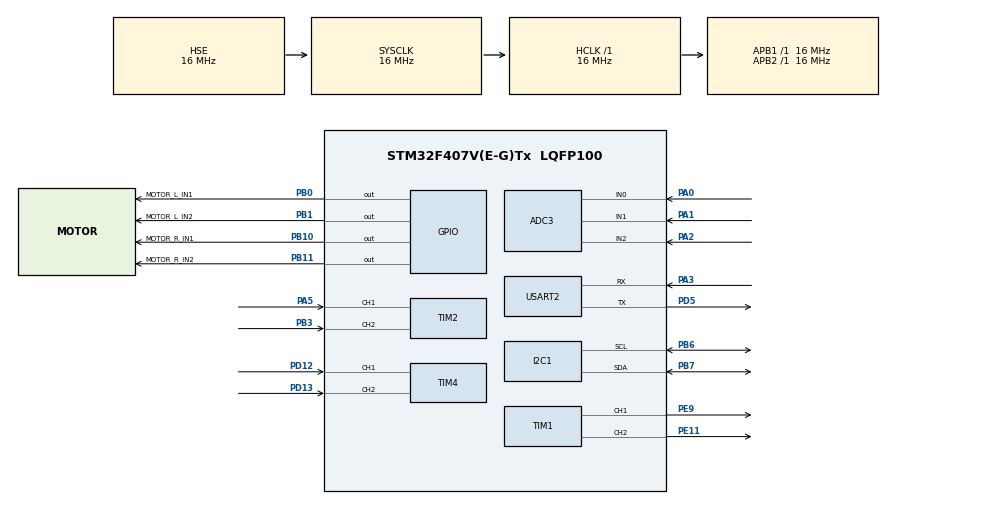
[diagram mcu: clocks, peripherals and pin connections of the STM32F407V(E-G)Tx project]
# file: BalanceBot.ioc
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ADC3.Channel-0\#ChannelRegularConversion=ADC_CHANNEL_0
ADC3.NbrOfConversionFlag=1
ADC3.Rank-0\#ChannelRegularConversion=1
ADC3.SamplingTime-0\#ChannelRegularConversion=ADC_SAMPLETIME_3CYCLES
Dma.ADC3.0.Direction=DMA_PERIPH_TO_MEMORY
Dma.ADC3.0.FIFOMode=DMA_FIFOMODE_DISABLE
Dma.ADC3.0.Instance=DMA2_Stream1
Dma.ADC3.0.MemDataAlignment=DMA_MDATAALIGN_HALFWORD
Dma.ADC3.0.MemInc=DMA_MINC_ENABLE
Dma.ADC3.0.Mode=DMA_NORMAL
Dma.ADC3.0.PeriphDataAlignment=DMA_PDATAALIGN_HALFWORD
Dma.ADC3.0.PeriphInc=DMA_PINC_DISABLE
Dma.ADC3.0.Priority=DMA_PRIORITY_LOW
Dma.Request0=ADC3
Mcu.Family=STM32F4
Mcu.Name=STM32F407V(E-G)Tx
Mcu.Package=LQFP100
NVIC.ADC_IRQn=true\:0\:0\:false\:false\:true\:true\:true\:true
NVIC.DMA2_Stream1_IRQn=true\:0\:0\:false\:false\:true\:false\:true\:true
NVIC.PriorityGroup=NVIC_PRIORITYGROUP_4
NVIC.TIM6_DAC_IRQn=true\:0\:0\:false\:false\:true\:true\:true\:true
NVIC.TIM7_IRQn=true\:0\:0\:false\:false\:true\:true\:true\:true
NVIC.USART2_IRQn=true\:0\:0\:false\:false\:true\:true\:true\:true
PA0-WKUP.Signal=ADCx_IN0
PA1.Signal=ADCx_IN1
PA13.Mode=Serial_Wire
PA13.Signal=SYS_JTMS-SWDIO
PA14.Mode=Serial_Wire
PA14.Signal=SYS_JTCK-SWCLK
PA2.Signal=ADCx_IN2
PA3.Mode=Asynchronous
PA3.Signal=USART2_RX
PA5.Signal=S_TIM2_CH1_ETR
PB0.GPIO_Label=MOTOR_L_IN1
PB0.GPIO_Speed=GPIO_SPEED_FREQ_LOW
PB0.PinState=GPIO_PIN_SET
PB0.Signal=GPIO_Output
PB1.GPIO_Label=MOTOR_L_IN2
PB1.GPIO_Speed=GPIO_SPEED_FREQ_HIGH
PB1.Signal=GPIO_Output
PB10.GPIO_Label=MOTOR_R_IN1
PB10.GPIO_Speed=GPIO_SPEED_FREQ_HIGH
PB10.Signal=GPIO_Output
PB11.GPIO_Label=MOTOR_R_IN2
PB11.GPIO_Speed=GPIO_SPEED_FREQ_HIGH
PB11.Signal=GPIO_Output
PB3.Signal=S_TIM2_CH2
PB6.Mode=I2C
PB6.Signal=I2C1_SCL
PB7.Mode=I2C
PB7.Signal=I2C1_SDA
PC14-OSC32_IN.Mode=LSE-External-Oscillator
PC14-OSC32_IN.Signal=RCC_OSC32_IN
PC15-OSC32_OUT.Mode=LSE-External-Oscillator
PC15-OSC32_OUT.Signal=RCC_OSC32_OUT
PD12.Signal=S_TIM4_CH1
PD13.Signal=S_TIM4_CH2
PD5.Mode=Asynchronous
PD5.Signal=USART2_TX
PE11.Signal=S_TIM1_CH2
PE9.Signal=S_TIM1_CH1
PH0-OSC_IN.Mode=HSE-External-Oscillator
PH0-OSC_IN.Signal=RCC_OSC_IN
PH1-OSC_OUT.Mode=HSE-External-Oscillator
PH1-OSC_OUT.Signal=RCC_OSC_OUT
ProjectManager.HeapSize=0x200
ProjectManager.StackSize=0x400
ProjectManager.TargetToolchain=CMake
RCC.AHBFreq_Value=16000000
RCC.APB1Freq_Value=16000000
RCC.APB1TimFreq_Value=16000000
RCC.APB2Freq_Value=16000000
RCC.APB2TimFreq_Value=16000000
RCC.CortexFreq_Value=16000000
RCC.HCLKFreq_Value=16000000
RCC.HSE_VALUE=16000000
RCC.HSI_VALUE=16000000
RCC.SYSCLKFreq_VALUE=16000000
RCC.SYSCLKSource=RCC_SYSCLKSOURCE_HSE
RCC.VCOOutputFreq_Value=192000000
SH.ADCx_IN0.0=ADC3_IN0,IN0
SH.ADCx_IN1.0=ADC3_IN1,IN1
SH.ADCx_IN2.0=ADC3_IN2,IN2
SH.S_TIM1_CH1.0=TIM1_CH1,PWM Generation1 CH1
SH.S_TIM1_CH2.0=TIM1_CH2,PWM Generation2 CH2
SH.S_TIM2_CH1_ETR.0=TIM2_CH1,Encoder_Interface
SH.S_TIM2_CH2.0=TIM2_CH2,Encoder_Interface
SH.S_TIM4_CH1.0=TIM4_CH1,Encoder_Interface
SH.S_TIM4_CH2.0=TIM4_CH2,Encoder_Interface
TIM1.Channel-PWM\ Generation1\ CH1=TIM_CHANNEL_1
TIM1.Channel-PWM\ Generation2\ CH2=TIM_CHANNEL_2
TIM6.Period=499
TIM6.Prescaler=8399
TIM7.Prescaler=15
USART2.VirtualMode=VM_ASYNC
VP_TIM6_VS_ClockSourceINT.Mode=Enable_Timer
VP_TIM7_VS_ClockSourceINT.Mode=Enable_Timer
board=custom

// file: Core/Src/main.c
/* USER CODE BEGIN Header */
/**
  ******************************************************************************
  * @file           : main.c
  * @brief          : Main program body
  ******************************************************************************
  * @attention
  *
  * Copyright (c) 2025 STMicroelectronics.
  * All rights reserved.
  *
  * This software is licensed under terms that can be found in the LICENSE file
  * in the root directory of this software component.
  * If no LICENSE file comes with this software, it is provided AS-IS.
  *
  ******************************************************************************
  */
/* USER CODE END Header */
#include "main.h"
#include "adc.h"
#include "dma.h"
#include "i2c.h"
#include "tim.h"
#include "usart.h"
#include "gpio.h"

/* USER CODE BEGIN Includes */
#include "ir_tracking.h"
#include "mode.h"
#include "motor.h"
#include "uart_bt.h"
#include "encoder.h"
#include "balance_ctrl.h"
#include "control_state.h"
#include "imu_filter.h"
/* USER CODE END Includes */

void SystemClock_Config(void);

int main(void)
{

  /* MCU Configuration--------------------------------------------------------*/

  /* Reset of all peripherals, Initializes the Flash interface and the Systick. */
  HAL_Init();

  /* Configure the system clock */
  SystemClock_Config();

  /* Initialize all configured peripherals */
  MX_GPIO_Init();
  MX_DMA_Init();
  MX_ADC3_Init();
  MX_I2C1_Init();
  MX_TIM1_Init();
  MX_TIM2_Init();
  MX_TIM4_Init();
  MX_USART2_UART_Init();
  MX_TIM6_Init();
  MX_TIM7_Init();
  /* USER CODE BEGIN 2 */

  IMU_Filter_Init();
  Encoder_Init(); // 这里面就是处理了编码器的初始化
  IR_Tracking_Init();
  UART_BT_Init();
  BalanceCtrl_Init();  // 内部初始化 IMU + PID + MPU6050
  ControlState_Init();
  Motor_Init();

  /* USER CODE END 2 */

  /* Infinite loop */
  /* USER CODE BEGIN WHILE */
  while (1)
  {
    BT_Command_t cmd_type = UART_BT_GetLastCommand();
    BT_ParsedCommand_t cmd = UART_BT_GetParsed();  // 获取上一次解析的完整命令结构体

    switch (cmd_type) {
    case CMD_FORWARD:
      ControlState_SetTargetAngle(+5.0f);
      ControlState_SetMotion(MOTION_FORWARD);
      break;
    case CMD_BACKWARD:
      ControlState_SetTargetAngle(-5.0f);
      ControlState_SetMotion(MOTION_BACKWARD);
      break;
    case CMD_LEFT:
    case CMD_RIGHT:
      // 已不再使用固定转角，LEFT/RIGHT 转为逻辑提示位（兼容）
      ControlState_SetMotion(cmd_type == CMD_LEFT ? MOTION_LEFT : MOTION_RIGHT);
      break;
    case CMD_YAW:
      ControlState_AddYawAngleDelta(cmd.param1);  // ✅ 可变角度控制
      break;
    case CMD_ANGLE:
      ControlState_SetTargetAngle(cmd.param1);    // ✅ 设置前后平衡角度
      break;
    case CMD_STOP:
      ControlState_SetTargetAngle(0.0f);
      ControlState_ResetTargetYawAngle();
      ControlState_SetMotion(MOTION_STOP);
      Motor_Stop();  // 立即停转
      break;
    default:
      break;
    }
  }
    /* USER CODE END WHILE */

  }
}

void SystemClock_Config(void)
{
  RCC_OscInitTypeDef RCC_OscInitStruct = {0};
  RCC_ClkInitTypeDef RCC_ClkInitStruct = {0};

  /** Configure the main internal regulator output voltage
  */
  __HAL_RCC_PWR_CLK_ENABLE();
  __HAL_PWR_VOLTAGESCALING_CONFIG(PWR_REGULATOR_VOLTAGE_SCALE1);

  /** Initializes the RCC Oscillators according to the specified parameters
  * in the RCC_OscInitTypeDef structure.
  */
  RCC_OscInitStruct.OscillatorType = RCC_OSCILLATORTYPE_HSE;
  RCC_OscInitStruct.HSEState = RCC_HSE_ON;
  RCC_OscInitStruct.PLL.PLLState = RCC_PLL_NONE;
  if (HAL_RCC_OscConfig(&RCC_OscInitStruct) != HAL_OK)
  {
    Error_Handler();
  }

  /** Initializes the CPU, AHB and APB buses clocks
  */
  RCC_ClkInitStruct.ClockType = RCC_CLOCKTYPE_HCLK|RCC_CLOCKTYPE_SYSCLK
                              |RCC_CLOCKTYPE_PCLK1|RCC_CLOCKTYPE_PCLK2;
  RCC_ClkInitStruct.SYSCLKSource = RCC_SYSCLKSOURCE_HSE;
  RCC_ClkInitStruct.AHBCLKDivider = RCC_SYSCLK_DIV1;
  RCC_ClkInitStruct.APB1CLKDivider = RCC_HCLK_DIV1;
  RCC_ClkInitStruct.APB2CLKDivider = RCC_HCLK_DIV1;

  if (HAL_RCC_ClockConfig(&RCC_ClkInitStruct, FLASH_LATENCY_0) != HAL_OK)
  {
    Error_Handler();
  }
}

void Error_Handler(void)
{
  __disable_irq();
  while (1)
  {
  }
}
